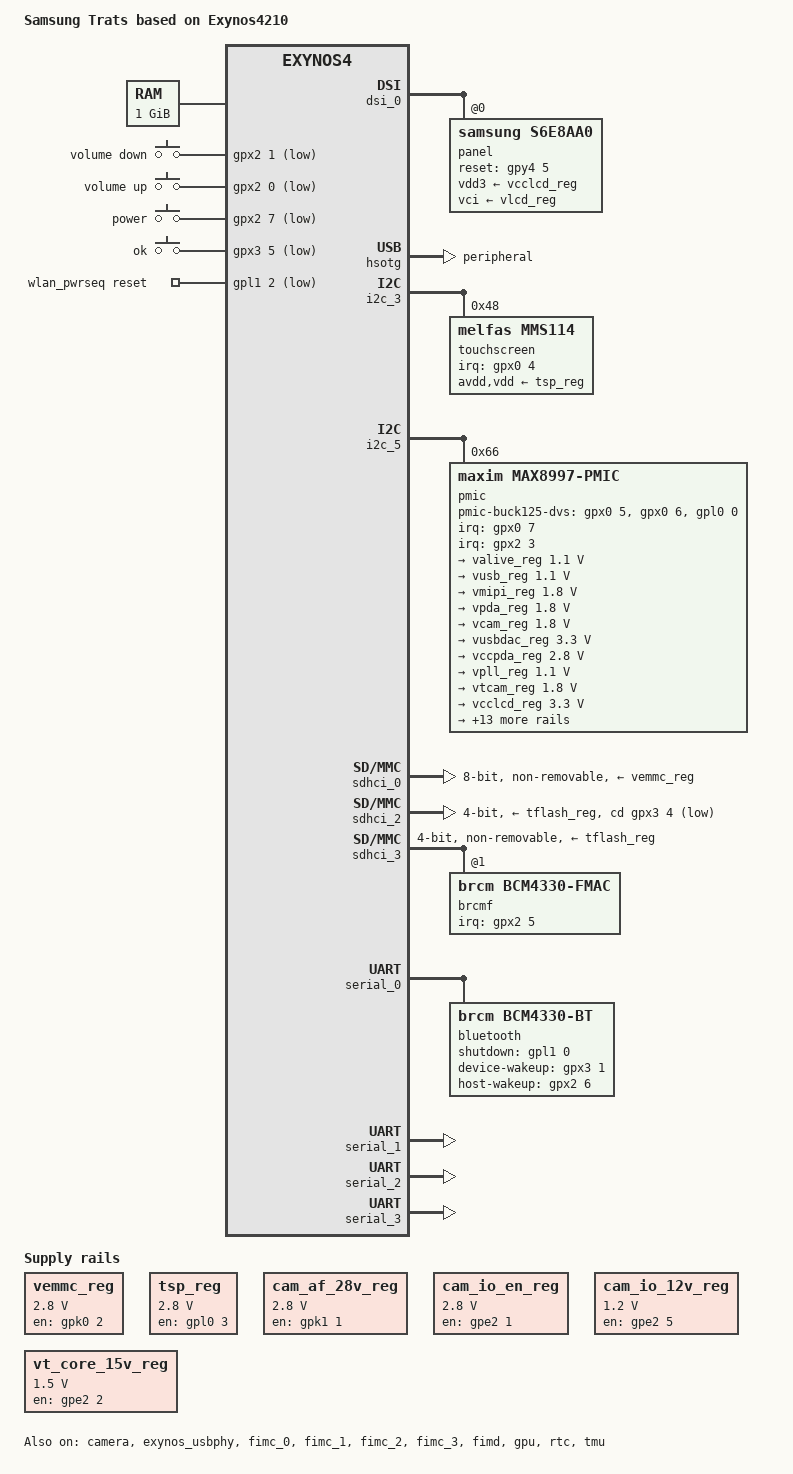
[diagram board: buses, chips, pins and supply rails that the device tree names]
// SPDX-License-Identifier: GPL-2.0
/*
 * Samsung's Exynos4210 based Trats board device tree source
 *
 * Copyright (c) 2012 Samsung Electronics Co., Ltd.
 *		http://www.samsung.com
 *
 * Device tree source file for Samsung's Trats board which is based on
 * Samsung's Exynos4210 SoC.
 */

/dts-v1/;
#include "exynos4210.dtsi"
#include <dt-bindings/gpio/gpio.h>

/ {
	model = "Samsung Trats based on Exynos4210";
	compatible = "samsung,trats", "samsung,exynos4210", "samsung,exynos4";

	memory@40000000 {
		device_type = "memory";
		reg =  <0x40000000 0x10000000
			0x50000000 0x10000000
			0x60000000 0x10000000
			0x70000000 0x10000000>;
	};

	chosen {
		bootargs = "root=/dev/mmcblk0p5 rootwait earlyprintk panic=5";
		stdout-path = "serial2:115200n8";
	};

	vemmc_reg: regulator-0 {
		compatible = "regulator-fixed";
		regulator-name = "VMEM_VDD_2.8V";
		regulator-min-microvolt = <2800000>;
		regulator-max-microvolt = <2800000>;
		gpio = <&gpk0 2 GPIO_ACTIVE_HIGH>;
		enable-active-high;
	};

	tsp_reg: regulator-1 {
		compatible = "regulator-fixed";
		regulator-name = "TSP_FIXED_VOLTAGES";
		regulator-min-microvolt = <2800000>;
		regulator-max-microvolt = <2800000>;
		gpio = <&gpl0 3 GPIO_ACTIVE_HIGH>;
		enable-active-high;
	};

	cam_af_28v_reg: regulator-2 {
		compatible = "regulator-fixed";
		regulator-name = "8M_AF_2.8V_EN";
		regulator-min-microvolt = <2800000>;
		regulator-max-microvolt = <2800000>;
		gpio = <&gpk1 1 GPIO_ACTIVE_HIGH>;
		enable-active-high;
	};

	cam_io_en_reg: regulator-3 {
		compatible = "regulator-fixed";
		regulator-name = "CAM_IO_EN";
		regulator-min-microvolt = <2800000>;
		regulator-max-microvolt = <2800000>;
		gpio = <&gpe2 1 GPIO_ACTIVE_HIGH>;
		enable-active-high;
	};

	cam_io_12v_reg: regulator-4 {
		compatible = "regulator-fixed";
		regulator-name = "8M_1.2V_EN";
		regulator-min-microvolt = <1200000>;
		regulator-max-microvolt = <1200000>;
		gpio = <&gpe2 5 GPIO_ACTIVE_HIGH>;
		enable-active-high;
	};

	vt_core_15v_reg: regulator-5 {
		compatible = "regulator-fixed";
		regulator-name = "VT_CORE_1.5V";
		regulator-min-microvolt = <1500000>;
		regulator-max-microvolt = <1500000>;
		gpio = <&gpe2 2 GPIO_ACTIVE_HIGH>;
		enable-active-high;
	};

	gpio-keys {
		compatible = "gpio-keys";

		vol-down-key {
			gpios = <&gpx2 1 GPIO_ACTIVE_LOW>;
			linux,code = <114>;
			label = "volume down";
			debounce-interval = <10>;
		};

		vol-up-key {
			gpios = <&gpx2 0 GPIO_ACTIVE_LOW>;
			linux,code = <115>;
			label = "volume up";
			debounce-interval = <10>;
		};

		power-key {
			gpios = <&gpx2 7 GPIO_ACTIVE_LOW>;
			linux,code = <116>;
			label = "power";
			debounce-interval = <10>;
			wakeup-source;
		};

		ok-key {
			gpios = <&gpx3 5 GPIO_ACTIVE_LOW>;
			linux,code = <352>;
			label = "ok";
			debounce-interval = <10>;
		};
	};

	wlan_pwrseq: sdhci3-pwrseq {
		compatible = "mmc-pwrseq-simple";
		reset-gpios = <&gpl1 2 GPIO_ACTIVE_LOW>;
	};

	fixed-rate-clocks {
		xxti {
			compatible = "samsung,clock-xxti";
			clock-frequency = <0>;
		};

		xusbxti {
			compatible = "samsung,clock-xusbxti";
			clock-frequency = <24000000>;
		};

		pmic_ap_clk: pmic-ap-clk {
			/* Workaround for missing clock on max8997 PMIC */
			compatible = "fixed-clock";
			#clock-cells = <0>;
			clock-frequency = <32768>;
		};
	};
};

&camera {
	pinctrl-names = "default";
	pinctrl-0 = <>;
	status = "okay";
};

&cpu0 {
	cpu0-supply = <&varm_breg>;
};

&cpu_thermal {
	cooling-maps {
		map0 {
			/* Corresponds to 800MHz at freq_table */
			cooling-device = <&cpu0 2 2>, <&cpu1 2 2>;
		};
		map1 {
			/* Corresponds to 200MHz at freq_table */
			cooling-device = <&cpu0 4 4>, <&cpu1 4 4>;
		};
	};
};

&dsi_0 {
	vddcore-supply = <&vusb_reg>;
	vddio-supply = <&vmipi_reg>;
	samsung,burst-clock-frequency = <500000000>;
	samsung,esc-clock-frequency = <20000000>;
	samsung,pll-clock-frequency = <24000000>;
	status = "okay";

	panel@0 {
		reg = <0>;
		compatible = "samsung,s6e8aa0";
		vdd3-supply = <&vcclcd_reg>;
		vci-supply = <&vlcd_reg>;
		reset-gpios = <&gpy4 5 GPIO_ACTIVE_HIGH>;
		power-on-delay= <50>;
		reset-delay = <100>;
		init-delay = <100>;
		flip-horizontal;
		flip-vertical;
		panel-width-mm = <58>;
		panel-height-mm = <103>;

		display-timings {
			timing-0 {
				clock-frequency = <57153600>;
				hactive = <720>;
				vactive = <1280>;
				hfront-porch = <5>;
				hback-porch = <5>;
				hsync-len = <5>;
				vfront-porch = <13>;
				vback-porch = <1>;
				vsync-len = <2>;
			};
		};
	};
};

&exynos_usbphy {
	status = "okay";
	vbus-supply = <&safe1_sreg>;
};

&fimc_0 {
	status = "okay";
	assigned-clocks = <&clock CLK_MOUT_FIMC0>,
			  <&clock CLK_SCLK_FIMC0>;
	assigned-clock-parents = <&clock CLK_SCLK_MPLL>;
	assigned-clock-rates = <0>, <160000000>;
};

&fimc_1 {
	status = "okay";
	assigned-clocks = <&clock CLK_MOUT_FIMC1>,
			  <&clock CLK_SCLK_FIMC1>;
	assigned-clock-parents = <&clock CLK_SCLK_MPLL>;
	assigned-clock-rates = <0>, <160000000>;
};

&fimc_2 {
	status = "okay";
	assigned-clocks = <&clock CLK_MOUT_FIMC2>,
			  <&clock CLK_SCLK_FIMC2>;
	assigned-clock-parents = <&clock CLK_SCLK_MPLL>;
		assigned-clock-rates = <0>, <160000000>;
};

&fimc_3 {
	status = "okay";
	assigned-clocks = <&clock CLK_MOUT_FIMC3>,
			  <&clock CLK_SCLK_FIMC3>;
	assigned-clock-parents = <&clock CLK_SCLK_MPLL>;
	assigned-clock-rates = <0>, <160000000>;
};

&fimd {
	status = "okay";
};

&gpu {
	status = "okay";
};

&hsotg {
	vusb_d-supply = <&vusb_reg>;
	vusb_a-supply = <&vusbdac_reg>;
	dr_mode = "peripheral";
	status = "okay";
};

&i2c_3 {
	samsung,i2c-sda-delay = <100>;
	samsung,i2c-slave-addr = <0x10>;
	samsung,i2c-max-bus-freq = <400000>;
	pinctrl-0 = <&i2c3_bus>;
	pinctrl-names = "default";
	status = "okay";

	touchscreen@48 {
		compatible = "melfas,mms114";
		reg = <0x48>;
		interrupt-parent = <&gpx0>;
		interrupts = <4 IRQ_TYPE_EDGE_FALLING>;
		touchscreen-size-x = <720>;
		touchscreen-size-y = <1280>;
		avdd-supply = <&tsp_reg>;
		vdd-supply = <&tsp_reg>;
	};
};

&i2c_5 {
	samsung,i2c-sda-delay = <100>;
	samsung,i2c-slave-addr = <0x10>;
	samsung,i2c-max-bus-freq = <100000>;
	pinctrl-0 = <&i2c5_bus>;
	pinctrl-names = "default";
	status = "okay";

	pmic@66 {
		compatible = "maxim,max8997-pmic";

		reg = <0x66>;
		interrupts-extended = <&gpx0 7 IRQ_TYPE_LEVEL_LOW>,
				      <&gpx2 3 IRQ_TYPE_EDGE_FALLING>;

		max8997,pmic-buck1-uses-gpio-dvs;
		max8997,pmic-buck2-uses-gpio-dvs;
		max8997,pmic-buck5-uses-gpio-dvs;

		max8997,pmic-ignore-gpiodvs-side-effect;
		max8997,pmic-buck125-default-dvs-idx = <0>;

		max8997,pmic-buck125-dvs-gpios = <&gpx0 5 GPIO_ACTIVE_HIGH>,
						 <&gpx0 6 GPIO_ACTIVE_HIGH>,
						 <&gpl0 0 GPIO_ACTIVE_HIGH>;

		max8997,pmic-buck1-dvs-voltage = <1350000>, <1300000>,
						 <1250000>, <1200000>,
						 <1150000>, <1100000>,
						 <1000000>, <950000>;

		max8997,pmic-buck2-dvs-voltage = <1100000>, <1000000>,
						 <950000>,  <900000>,
						 <1100000>, <1000000>,
						 <950000>,  <900000>;

		max8997,pmic-buck5-dvs-voltage = <1200000>, <1200000>,
						 <1200000>, <1200000>,
						 <1200000>, <1200000>,
						 <1200000>, <1200000>;

		regulators {
			valive_reg: LDO2 {
				regulator-name = "VALIVE_1.1V_C210";
				regulator-min-microvolt = <1100000>;
				regulator-max-microvolt = <1100000>;
				regulator-always-on;
			};

			vusb_reg: LDO3 {
				regulator-name = "VUSB_1.1V_C210";
				regulator-min-microvolt = <1100000>;
				regulator-max-microvolt = <1100000>;
			};

			vmipi_reg: LDO4 {
				regulator-name = "VMIPI_1.8V";
				regulator-min-microvolt = <1800000>;
				regulator-max-microvolt = <1800000>;
			};

			vpda_reg: LDO6 {
				regulator-name = "VCC_1.8V_PDA";
				regulator-min-microvolt = <1800000>;
				regulator-max-microvolt = <1800000>;
				regulator-always-on;
			};

			vcam_reg: LDO7 {
				regulator-name = "CAM_ISP_1.8V";
				regulator-min-microvolt = <1800000>;
				regulator-max-microvolt = <1800000>;
			};

			vusbdac_reg: LDO8 {
				regulator-name = "VUSB+VDAC_3.3V_C210";
				regulator-min-microvolt = <3300000>;
				regulator-max-microvolt = <3300000>;
			};

			vccpda_reg: LDO9 {
				regulator-name = "VCC_2.8V_PDA";
				regulator-min-microvolt = <2800000>;
				regulator-max-microvolt = <2800000>;
				regulator-always-on;
			};

			vpll_reg: LDO10 {
				regulator-name = "VPLL_1.1V_C210";
				regulator-min-microvolt = <1100000>;
				regulator-max-microvolt = <1100000>;
				regulator-always-on;
			};

			vtcam_reg: LDO12 {
				regulator-name = "VT_CAM_1.8V";
				regulator-min-microvolt = <1800000>;
				regulator-max-microvolt = <1800000>;
			};

			vcclcd_reg: LDO13 {
				regulator-name = "VCC_3.3V_LCD";
				regulator-min-microvolt = <3300000>;
				regulator-max-microvolt = <3300000>;
			};

			vlcd_reg: LDO15 {
				regulator-name = "VLCD_2.2V";
				regulator-min-microvolt = <2200000>;
				regulator-max-microvolt = <2200000>;
			};

			camsensor_reg: LDO16 {
				regulator-name = "CAM_SENSOR_IO_1.8V";
				regulator-min-microvolt = <1800000>;
				regulator-max-microvolt = <1800000>;
			};

			tflash_reg: LDO17 {
				regulator-name = "VTF_2.8V";
				regulator-min-microvolt = <2800000>;
				regulator-max-microvolt = <2800000>;
			};

			vddq_reg: LDO21 {
				regulator-name = "VDDQ_M1M2_1.2V";
				regulator-min-microvolt = <1200000>;
				regulator-max-microvolt = <1200000>;
				regulator-always-on;
			};

			varm_breg: BUCK1 {
				regulator-name = "VARM_1.2V_C210";
				regulator-min-microvolt = <900000>;
				regulator-max-microvolt = <1350000>;
				regulator-always-on;
			};

			vint_breg: BUCK2 {
				regulator-name = "VINT_1.1V_C210";
				regulator-min-microvolt = <900000>;
				regulator-max-microvolt = <1100000>;
				regulator-always-on;
			};

			camisp_breg: BUCK4 {
				regulator-name = "CAM_ISP_CORE_1.2V";
				regulator-min-microvolt = <1200000>;
				regulator-max-microvolt = <1200000>;
			};

			vmem_breg: BUCK5 {
				regulator-name = "VMEM_1.2V_C210";
				regulator-min-microvolt = <1200000>;
				regulator-max-microvolt = <1200000>;
				regulator-always-on;
			};

			vccsub_breg: BUCK7 {
				regulator-name = "VCC_SUB_2.0V";
				regulator-min-microvolt = <2000000>;
				regulator-max-microvolt = <2000000>;
				regulator-always-on;
			};

			safe1_sreg: ESAFEOUT1 {
				regulator-name = "SAFEOUT1";
			};

			safe2_sreg: ESAFEOUT2 {
				regulator-name = "SAFEOUT2";
				regulator-boot-on;
			};

			EN32KHZ_AP {
				regulator-name = "EN32KHZ_AP";
				regulator-always-on;
			};

			EN32KHZ_CP {
				regulator-name = "EN32KHZ_CP";
				regulator-always-on;
			};
		};
	};
};

&pinctrl_1 {
	bt_shutdown: bt-shutdown {
		samsung,pins = "gpl1-0";
		samsung,pin-function = <EXYNOS_PIN_FUNC_OUTPUT>;
		samsung,pin-pud = <EXYNOS_PIN_PULL_NONE>;
	};

	bt_host_wakeup: bt-host-wakeup {
		samsung,pins = "gpx2-6";
		samsung,pin-function = <EXYNOS_PIN_FUNC_INPUT>;
		samsung,pin-pud = <EXYNOS_PIN_PULL_NONE>;
	};

	bt_device_wakeup: bt-device-wakeup {
		samsung,pins = "gpx3-1";
		samsung,pin-function = <EXYNOS_PIN_FUNC_OUTPUT>;
		samsung,pin-pud = <EXYNOS_PIN_PULL_NONE>;
	};
};

&rtc {
	status = "okay";
	clocks = <&clock CLK_RTC>, <&pmic_ap_clk>;
	clock-names = "rtc", "rtc_src";
};

&sdhci_0 {
	bus-width = <8>;
	non-removable;
	pinctrl-0 = <&sd0_clk &sd0_cmd &sd0_bus8>;
	pinctrl-names = "default";
	vmmc-supply = <&vemmc_reg>;
	status = "okay";
};

&sdhci_2 {
	bus-width = <4>;
	pinctrl-0 = <&sd2_clk &sd2_cmd &sd2_bus4>;
	pinctrl-names = "default";
	vmmc-supply = <&tflash_reg>;
	cd-gpios = <&gpx3 4 GPIO_ACTIVE_LOW>;
	status = "okay";
};

&sdhci_3 {
	status = "okay";

	#address-cells = <1>;
	#size-cells = <0>;

	non-removable;
	bus-width = <4>;
	mmc-pwrseq = <&wlan_pwrseq>;
	vmmc-supply = <&tflash_reg>;

	pinctrl-names = "default";
	pinctrl-0 = <&sd3_clk>, <&sd3_cmd>, <&sd3_bus4>;

	brcmf: wifi@1 {
		compatible = "brcm,bcm4330-fmac", "brcm,bcm4329-fmac";
		reg = <1>;

		interrupt-parent = <&gpx2>;
		interrupts = <5 IRQ_TYPE_LEVEL_HIGH>;
		interrupt-names = "host-wake";
	};
};

&serial_0 {
	status = "okay";
	pinctrl-0 = <&uart0_data &uart0_fctl>;
	pinctrl-names = "default";

	bluetooth {
		compatible = "brcm,bcm4330-bt";
		pinctrl-0 = <&bt_shutdown &bt_device_wakeup &bt_host_wakeup>;
		pinctrl-names = "default";
		shutdown-gpios = <&gpl1 0 GPIO_ACTIVE_HIGH>;
		device-wakeup-gpios = <&gpx3 1 GPIO_ACTIVE_HIGH>;
		host-wakeup-gpios = <&gpx2 6 GPIO_ACTIVE_HIGH>;
	};
};

&serial_1 {
	status = "okay";
};

&serial_2 {
	status = "okay";
};

&serial_3 {
	status = "okay";
};

&tmu {
	status = "okay";
};
